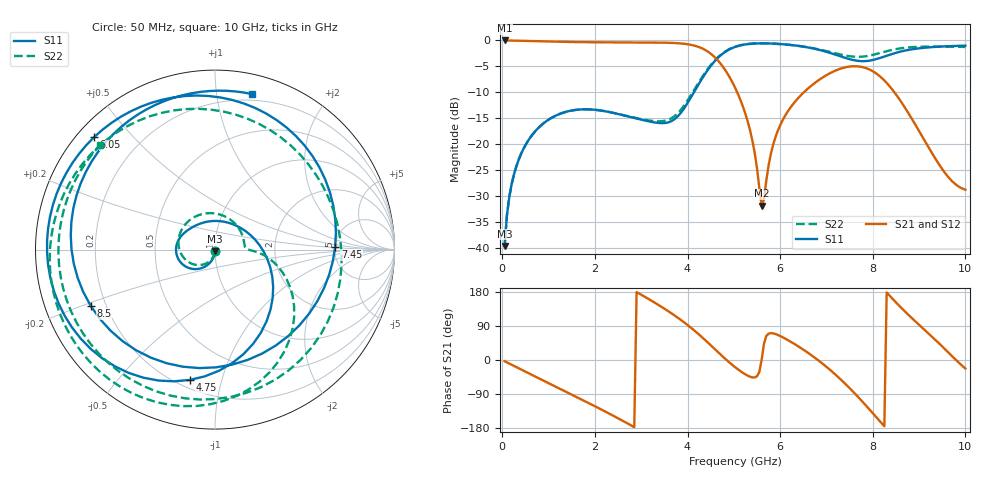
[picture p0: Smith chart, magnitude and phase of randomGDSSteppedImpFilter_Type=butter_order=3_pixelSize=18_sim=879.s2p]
! freq	dB(S11)	phase(S11)	dB(S12)	phase(S12)
!  dB(S21)	phase(S21)	dB(S22)	phase(S22)
!S-par simulation data
#  GHz  S  DB  R 50
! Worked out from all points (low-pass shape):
!   200 points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, 50 MHz to 10 GHz, reference 50 ohm
!   highest |S21| = -0.01 dB at 50 MHz (marker M1); lowest = -31.8 dB at 5.6 GHz (marker M2)
!   |S21| within 3 dB of the highest: start of sweep to 4.56 GHz
!   lowest |S11| = -39.6 dB at 50 MHz (marker M3), VSWR 1.02, Z = 50 - j1.05 ohm
!   |S11| at or under -10 dB: start of sweep to 4.137 GHz
!   |S22| runs from -39.6 to -0.6 dB; largest |S21 - S12| = 0
!   S11 on the Smith chart (normalised r, x): 50 MHz: 1.00, -0.02; 4.75 GHz: 0.25, -0.79; 6.05 GHz: 0.05, +0.39; 7.45 GHz: 5.04, +0.29; 8.5 GHz: 0.14, -0.21; 10 GHz: 0.15, +1.25
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0.05  -39.61 -91.6  -0.01 -3.1  -0.01 -3.1  -39.62 -92.5
0.2  -27.76 -100.5  -0.03 -12.4  -0.03 -12.4  -27.77 -103.8
0.5  -20.16 -116.9  -0.08 -30.7  -0.08 -30.7  -20.17 -125.3
1.15  -14.50 -149.9  -0.24 -70.0  -0.24 -70.0  -14.50 -171.4
1.75  -13.27 -177.6  -0.34 -106.4  -0.34 -106.4  -13.27 143.5
2.65  -14.49 146.3  -0.37 -163.8  -0.37 -163.8  -14.47 65.5
3.4  -15.92 97.6  -0.42 143.2  -0.42 143.2  -15.57 8.1
4.1  -10.56 -10.2  -0.90 82.6  -0.90 82.6  -10.15 -9.8
4.45  -5.53 -61.2  -2.22 44.8  -2.22 44.8  -5.33 -35.5
4.75  -2.62 -101.0  -4.90 10.2  -4.90 10.2  -2.52 -66.0
5.05  -1.18 -136.0  -9.54 -21.2  -9.54 -21.2  -1.14 -96.8
5.4  -0.62 -170.2  -19.29 -45.9  -19.29 -45.9  -0.61 -128.8
5.6  -0.56 172.7  -31.82 0.5  -31.82 0.5  -0.56 -145.4
6.05  -0.72 137.1  -15.42 60.3  -15.42 60.3  -0.73 179.3
6.7  -1.52 83.5  -8.53 10.4  -8.53 10.4  -1.48 125.4
7.45  -3.48 1.3  -5.10 -68.1  -5.10 -68.1  -2.97 48.1
7.95  -3.86 -73.5  -5.69 -133.5  -5.69 -133.5  -2.89 -13.1
8.35  -2.80 -135.2  -8.68 171.6  -8.68 171.6  -1.96 -65.0
8.5  -2.38 -155.7  -10.38 152.0  -10.38 152.0  -1.67 -83.7
8.85  -1.70 163.8  -15.19 109.9  -15.19 109.9  -1.29 -123.1
9.25  -1.31 127.6  -21.26 65.0  -21.26 65.0  -1.18 -161.3
10  -1.00 76.7  -28.75 -22.3  -28.75 -22.3  -1.26 137.8
